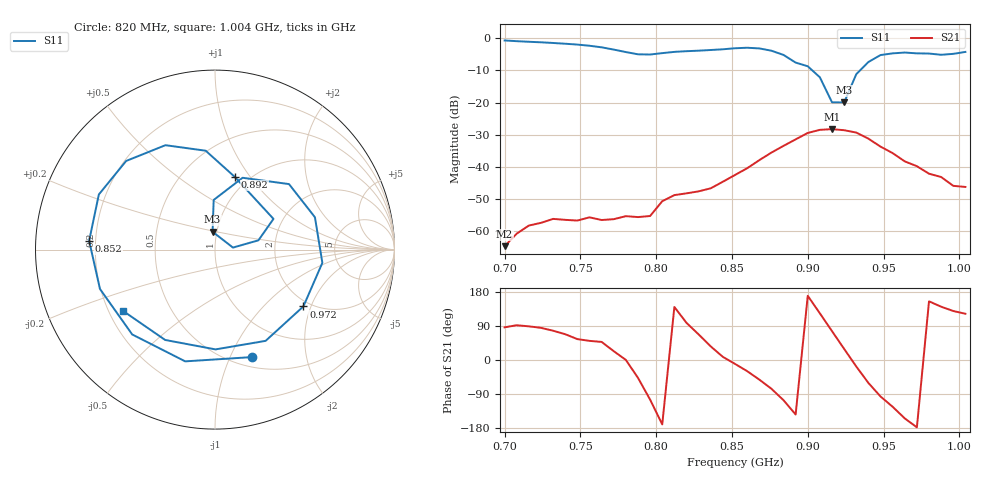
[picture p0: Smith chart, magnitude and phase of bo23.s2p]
# Hz S RI R 50
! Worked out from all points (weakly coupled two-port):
!   39 points, 700 MHz to 1.004 GHz, reference 50 ohm
!   highest |S21| = -28.31 dB at 916 MHz (marker M1); lowest = -64.9 dB at 700 MHz (marker M2)
!   lowest |S11| = -20.0 dB at 924 MHz (marker M3), VSWR 1.22, Z = 47.7 + j9.58 ohm
!   |S11| at or under -10 dB: 903.1 MHz to 934.4 MHz (31.39 MHz wide, 3.42 % of centre)
!   S12 and S22 are empty: the file has one direction only
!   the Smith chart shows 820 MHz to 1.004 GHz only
!   S11 on the Smith chart (normalised r, x): 820 MHz: 0.60, -1.21; 852 MHz: 0.17, +0.03; 892 MHz: 0.86, +0.85; 972 MHz: 1.84, -1.77; 1.004 GHz: 0.26, -0.28
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7e8  0.7654 0.5295  3.77e-05 0.00057  0 0  0 0
7.24e8  0.8293 -0.2659  0.000119 0.00132  0 0  0 0
7.4e8  0.4393 -0.7007  0.000551 0.00137  0 0  0 0
7.56e8  -0.2055 -0.7416  0.00103 0.00124  0 0  0 0
7.72e8  -0.6493 -0.1666  0.00139 0.000597  0 0  0 0
7.8e8  -0.5575 0.2557  0.00168 5.52e-06  0 0  0 0
7.88e8  -0.1795 0.5363  0.00111 -0.00119  0 0  0 0
7.96e8  0.3002 0.4744  -0.000426 -0.00164  0 0  0 0
8.04e8  0.583 0.0918  -0.00283 -0.000504  0 0  0 0
8.2e8  0.2045 -0.599  -0.000533 0.00378  0 0  0 0
8.36e8  -0.4613 -0.4728  0.00371 0.00268  0 0  0 0
8.52e8  -0.7012 0.0489  0.00727 -0.00132  0 0  0 0
8.76e8  -0.2763 0.5817  0.00405 -0.016  0 0  0 0
8.92e8  0.1096 0.4057  -0.0214 -0.0157  0 0  0 0
9.08e8  0.2419 0.0517  -0.0204 0.0313  0 0  0 0
9.16e8  0.1 0.0113  0.0092 0.0373  0 0  0 0
9.24e8  -0.0134 0.0993  0.0322 0.0181  0 0  0 0
9.4e8  0.1537 0.4002  0.0135 -0.0237  0 0  0 0
9.56e8  0.5568 0.1803  -0.00894 -0.0135  0 0  0 0
9.72e8  0.4924 -0.3167  -0.0101 -0.000404  0 0  0 0
9.88e8  0.00286 -0.556  -0.00531 0.00436  0 0  0 0
1.004e9  -0.5131 -0.3411  -0.00255 0.00407  0 0  0 0
